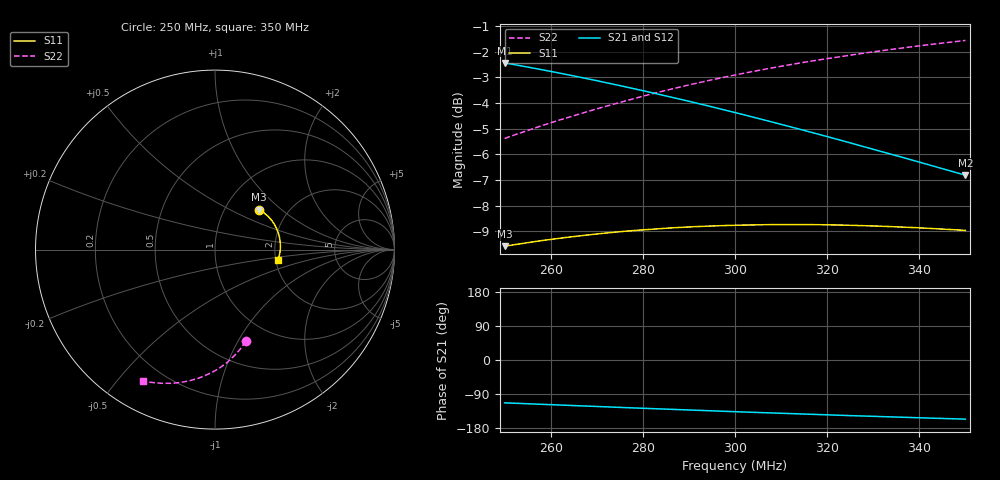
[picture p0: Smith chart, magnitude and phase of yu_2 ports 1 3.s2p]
#  HZ  S  DB  R  50.00
! Rohde & Schwarz Vector Network Analyzer
! Rohde-Schwarz,ZNL3-2Port,1323001203101687,1.37.1.9-20.11.2.22
! Created: UTC 11/14/2023, 4:12:16 PM
! freq[Hz]  db:S11  ang:S11  db:S21  ang:S21  db:S12  ang:S12  db:S22  ang:S22
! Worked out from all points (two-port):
!   801 points, 250 MHz to 350 MHz, reference 50 ohm
!   highest |S21| = -2.44 dB at 250 MHz (marker M1); lowest = -6.8 dB at 350 MHz (marker M2)
!   |S21| within 3 dB of the highest: start of sweep to 322.7 MHz
!   lowest |S11| = -9.6 dB at 250 MHz (marker M3), VSWR 1.99, Z = 71.9 + j36.1 ohm
!   |S11| at or under -10 dB: nowhere
!   |S22| runs from -5.4 to -1.6 dB; largest |S21 - S12| = 0.0068
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2.5e8  -9.57 42.3  -2.44 -113.1  -2.44 -113.5  -5.38 -71.5
2.505e8  -9.56 42.0  -2.45 -113.3  -2.45 -113.7  -5.35 -71.7
2.53625e8  -9.47 40.2  -2.56 -114.8  -2.55 -115.3  -5.15 -73.3
2.57875e8  -9.36 37.7  -2.70 -116.9  -2.69 -117.3  -4.90 -75.4
2.625e8  -9.25 35.1  -2.86 -119.1  -2.85 -119.6  -4.63 -77.8
2.6675e8  -9.16 32.7  -3.01 -121.2  -3.01 -121.6  -4.40 -79.9
2.71e8  -9.08 30.3  -3.17 -123.2  -3.17 -123.7  -4.18 -82.0
2.7525e8  -9.01 27.9  -3.33 -125.2  -3.33 -125.7  -3.96 -84.1
2.79375e8  -8.95 25.7  -3.49 -127.1  -3.49 -127.6  -3.76 -86.2
2.83375e8  -8.89 23.5  -3.66 -129.0  -3.65 -129.5  -3.58 -88.2
2.87375e8  -8.85 21.3  -3.82 -130.8  -3.82 -131.3  -3.41 -90.1
2.91875e8  -8.81 18.9  -4.01 -132.8  -4.01 -133.3  -3.22 -92.3
3e8  -8.76 14.7  -4.37 -136.4  -4.37 -136.9  -2.91 -96.2
3.04375e8  -8.74 12.4  -4.57 -138.3  -4.56 -138.8  -2.76 -98.3
3.085e8  -8.74 10.3  -4.76 -140.0  -4.75 -140.6  -2.62 -100.2
3.12625e8  -8.73 8.2  -4.96 -141.8  -4.95 -142.4  -2.49 -102.1
3.1675e8  -8.74 6.2  -5.15 -143.5  -5.14 -144.1  -2.37 -104.0
3.24875e8  -8.76 2.2  -5.55 -146.7  -5.54 -147.4  -2.14 -107.8
3.33375e8  -8.81 -1.7  -5.97 -150.0  -5.96 -150.7  -1.93 -111.6
3.415e8  -8.87 -5.4  -6.38 -153.0  -6.37 -153.8  -1.74 -115.1
3.49125e8  -8.95 -8.8  -6.77 -155.8  -6.76 -156.6  -1.58 -118.4
3.5e8  -8.96 -9.1  -6.81 -156.1  -6.80 -156.9  -1.57 -118.7
